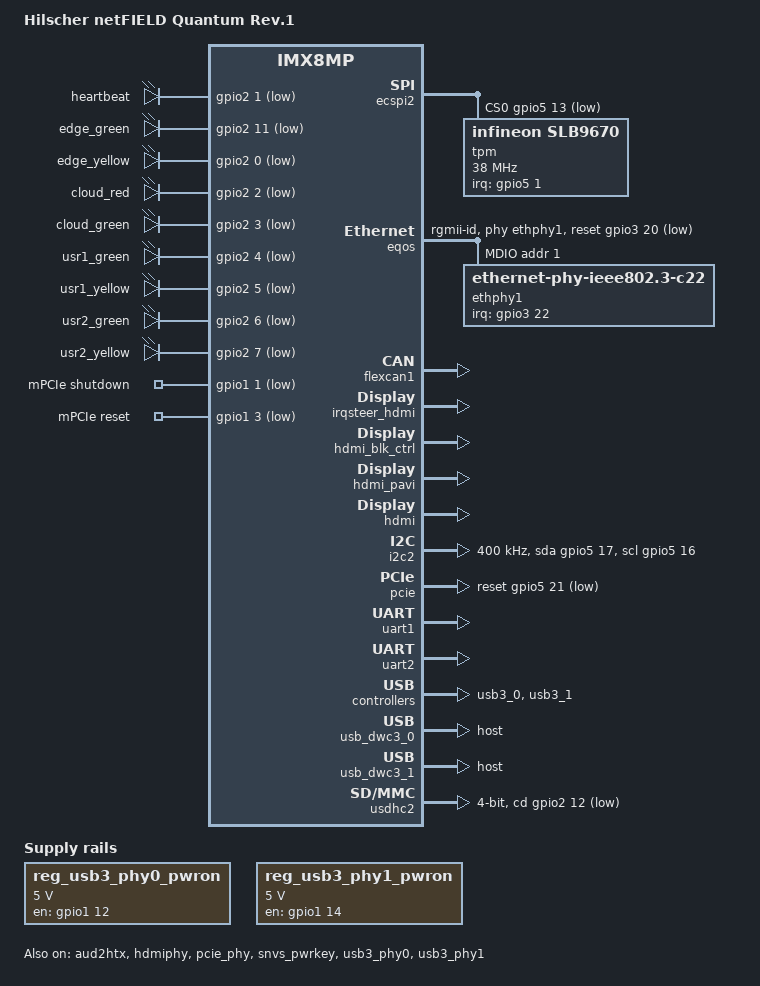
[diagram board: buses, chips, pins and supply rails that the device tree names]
// SPDX-License-Identifier: GPL-2.0
/*
 * Copyright (C) 2024 Hilscher Gesellschaft fuer Systemautomation mbH
 * Author: Michael Trensch <mtrensch@hilscher.com>
 */

/dts-v1/;

#include <dt-bindings/leds/leds-pca9532.h>
#include <dt-bindings/pwm/pwm.h>
#include "imx8mp-phycore-som.dtsi"

/ {
	model = "Hilscher netFIELD Quantum Rev.1";
	compatible = "hilscher,netfield-quantum",
	             "phytec,imx8mp-phycore-som", "fsl,imx8mp";

	chosen {
		stdout-path = &uart1;
	};

	aliases {
		mmc0 = &usdhc2; /* SD-Card */
		mmc1 = &usdhc3; /* eMMC */
		/delete-property/ mmc2;

		#ethernet0 = &eqos; /* with TSN */
		#ethernet1 = &fec;  /* without TSN  */
	};

	/* USB 3.0 */
	reg_usb3_phy0_pwron: regulator-usb3-phy0-pwron {
		compatible = "regulator-fixed";
		pinctrl-names = "default";
		pinctrl-0 = <&pinctrl_reg_usb3_phy0_pwron>;
		regulator-name = "usb3_phy0_pwron";
		regulator-min-microvolt = <5000000>;
		regulator-max-microvolt = <5000000>;
		gpio = <&gpio1 12 GPIO_ACTIVE_HIGH>;
		enable-active-high;
	};

	/* USB 2.0 */
	reg_usb3_phy1_pwron: regulator-usb3-phy1-pwron {
		compatible = "regulator-fixed";
		pinctrl-names = "default";
		pinctrl-0 = <&pinctrl_reg_usb3_phy1_pwron>;
		regulator-name = "usb3_phy1_pwron";
		regulator-min-microvolt = <5000000>;
		regulator-max-microvolt = <5000000>;
		gpio = <&gpio1 14 GPIO_ACTIVE_HIGH>;
		enable-active-high;
	};

	leds {
		compatible = "gpio-leds";
		pinctrl-names = "default";
		pinctrl-0 = <&pinctrl_gpio_leds>;

		act {
			label = "heartbeat";
			gpios = <&gpio2 1 GPIO_ACTIVE_LOW>;
			default-state = "off";
			linux,default-trigger = "heartbeat";
		};

		edge_green {
			label = "edge_green";
			gpios = <&gpio2 11 GPIO_ACTIVE_LOW>;
			default-state = "off";
		};

		edge_yellow {
			label = "edge_yellow";
			gpios = <&gpio2 0 GPIO_ACTIVE_LOW>;
			default-state = "off";
		};

		cloud_red {
			label = "cloud_red";
			gpios = <&gpio2 2 GPIO_ACTIVE_LOW>;
			default-state = "off";
		};

		cloud_green {
			label = "cloud_green";
			gpios = <&gpio2 3 GPIO_ACTIVE_LOW>;
			default-state = "off";
		};

		usr1_green {
			label = "usr1_green";
			gpios = <&gpio2 4 GPIO_ACTIVE_LOW>;
			default-state = "off";
		};

		usr1_yellow {
			label = "usr1_yellow";
			gpios = <&gpio2 5 GPIO_ACTIVE_LOW>;
			default-state = "off";
		};

		usr2_green {
			label = "usr2_green";
			gpios = <&gpio2 6 GPIO_ACTIVE_LOW>;
			default-state = "off";
		};

		usr2_yellow {
			label = "usr2_yellow";
			gpios = <&gpio2 7 GPIO_ACTIVE_LOW>;
			default-state = "off";
		};
	};

	mpcie_wwan_enable {
		status = "okay";
		compatible = "rfkill-gpio";
		shutdown-gpio = <&gpio1 1 GPIO_ACTIVE_LOW>;
		reset-gpio = <&gpio1 3 GPIO_ACTIVE_LOW>;
		label = "mPCIe";
		radio-type = "wwan";
	};

	sound-hdmi {
		compatible = "fsl,imx-audio-hdmi";
		model = "audio-hdmi";
		audio-cpu = <&aud2htx>;
		hdmi-out;
		constraint-rate = <44100>, <88200>, <176400>, <32000>, <48000>, <96000>, <192000>;
	};
};

&gpio1 {
	status = "okay";
	pinctrl-names = "default";
	pinctrl-0 = <&pinctrl_gpio1_inputs &pinctrl_gpio1_outputs>;
	gpio-line-names =
		"N/C", "mPCIe_WWAN", "N/C", "mPCIe_nRST", "N/C", "N/C", "N/C", "ETH0_SYNCCLK",
		"N/C", "N/C", "UART2_RS485/nRS232", "M.2_BOOT", "USB3_PHY0_PWRON", "USB3_PHY0_nFAULT", "USB3_PHY1_PWRON", "M.2_nWAKE",
		"N/C", "N/C", "N/C", "N/C", "N/C", "N/C", "N/C", "N/C",
		"N/C", "N/C", "N/C", "N/C", "N/C", "N/C", "N/C", "N/C";
};

&gpio2 {
	status = "okay";
	gpio-line-names =
		"LED3_EDG_Y", "LED1_ACT", "LED4_CLD_R", "LED4_CLD_G", "LED5_USR1_G", "LED5_USR1_Y", "LED6_USR2_G", "LED6_USR2_Y",
		"M.2_SYNC0", "M.2_SYNC1", "N/C", "LED3_EDG_G", "SD-Card_CD", "N/C", "N/C", "N/C",
		"N/C", "N/C", "N/C", "N/C", "N/C", "N/C", "N/C", "N/C",
		"N/C", "N/C", "N/C", "N/C", "N/C", "N/C", "N/C", "N/C";
};

&gpio3 {
	status = "okay";
	gpio-line-names =
		"N/C", "N/C", "N/C", "N/C", "N/C", "N/C", "N/C", "N/C",
		"N/C", "N/C", "N/C", "N/C", "N/C", "N/C", "N/C", "N/C",
		"N/C", "N/C", "N/C", "N/C", "ETH0_PHY_nRST", "N/C", "ETH0_PHY_nINT", "N/C",
		"N/C", "N/C", "N/C", "N/C", "N/C", "N/C", "N/C", "N/C";
};

&gpio4 {
	status = "okay";
	pinctrl-names = "default";
	pinctrl-0 = <&pinctrl_gpio4_outputs>;
	gpio-line-names =
		"N/C", "N/C", "N/C", "N/C", "N/C", "N/C", "N/C", "N/C",
		"N/C", "N/C", "N/C", "N/C", "N/C", "N/C", "N/C", "N/C",
		"N/C", "N/C", "PMIC", "N/C", "N/C", "DOUT4_EN", "N/C", "N/C",
		"DOUT2_EN", "N/C", "DOUT3_EN", "DOUT1_EN", "N/C", "nDOUT3_ST", "nDOUT4_ST", "N/C";
};

&gpio5 {
	status = "okay";
	pinctrl-names = "default";
	pinctrl-0 = <&pinctrl_gpio5_inputs &pinctrl_gpio5_outputs>;
	gpio-line-names =
		"N/C", "TPM_nINT", "N/C", "nDOUT2_ST", "nDOUT1_ST", "N/C", "DIP_IN4", "DIP_IN2",
		"DIP_IN3", "DIP_IN1", "N/C", "N/C", "N/C", "SPI2_CS0_TPM", "I2C1_SCL", "I2C1_SDA",
		"I2C2_SCL", "I2C2_SDA", "N/C", "N/C", "M.2_nCLKREQ", "M.2_nRESET", "N/C", "N/C",
		"N/C", "N/C", "DIN1", "DIN2", "DIN3", "DIN4", "N/C", "N/C";
};

&aud2htx {
	status = "okay";
};

/* TPM */
&ecspi2 {
	#address-cells = <1>;
	#size-cells = <0>;
	cs-gpios = <&gpio5 13 GPIO_ACTIVE_LOW>;
	num-cs = <1>;
	pinctrl-names = "default";
	pinctrl-0 = <&pinctrl_ecspi2>;
	status = "okay";

	tpm: tpm_tis@0 {
		compatible = "infineon,slb9670", "tcg,tpm_tis-spi";
		reg = <0>;
		spi-max-frequency = <38000000>;
		status = "okay";

		interrupt-parent = <&gpio5>;
		interrupts = <1 IRQ_TYPE_EDGE_FALLING>;
	};
};

/* Ethernet with TSN */
&eqos {
	pinctrl-names = "default";
	pinctrl-0 = <&pinctrl_eqos>;
	phy-mode = "rgmii-id";
	phy-handle = <&ethphy1>;
	status = "okay";

	snps,reset-gpio = <&gpio3 20 GPIO_ACTIVE_LOW>;
	snps,reset-delays-us = <10 20 200000>;

	mdio {
		compatible = "snps,dwmac-mdio";
		#address-cells = <1>;
		#size-cells = <0>;

		ethphy1: ethernet-phy@1 {
			compatible = "ethernet-phy-ieee802.3-c22";
			reg = <0x1>;
			ti,rx-internal-delay = <DP83867_RGMIIDCTL_1_50_NS>;
			ti,tx-internal-delay = <DP83867_RGMIIDCTL_1_50_NS>;
			ti,fifo-depth = <DP83867_PHYCR_FIFO_DEPTH_4_B_NIB>;
			ti,clk-output-sel = <DP83867_CLK_O_SEL_OFF>;
			enet-phy-lane-no-swap;

			interrupt-parent = <&gpio3>;
			interrupts = <22 IRQ_TYPE_EDGE_FALLING>;
		};
	};
};

/* CAN FD1 */
&flexcan1 {
	pinctrl-names = "default";
	pinctrl-0 = <&pinctrl_flexcan1>;
	status = "okay";
};

/* HDMI */
&irqsteer_hdmi {
	status = "okay";
};

&hdmi_blk_ctrl {
	status = "okay";
};

&hdmi_pavi {
	status = "okay";
};

&hdmi {
	status = "okay";
};

&hdmiphy {
	status = "okay";
};

/* Connected to PCIe */
csi2_i2c: &i2c2 {
	clock-frequency = <400000>;
	pinctrl-names = "default", "gpio";
	pinctrl-0 = <&pinctrl_i2c2>;
	pinctrl-1 = <&pinctrl_i2c2_gpio>;
	sda-gpios = <&gpio5 17 (GPIO_ACTIVE_HIGH | GPIO_OPEN_DRAIN)>;
	scl-gpios = <&gpio5 16 (GPIO_ACTIVE_HIGH | GPIO_OPEN_DRAIN)>;
	status = "okay";
};

/* M.2 Key-B (PCIe x1, USB 2.0) */
&pcie{
	pinctrl-names = "default";
	pinctrl-0 = <&pinctrl_pcie_m2>, <&pinctrl_pcie_m2_gpio>;
	reset-gpio = <&gpio5 21 GPIO_ACTIVE_LOW>;
	disable-gpio = <&gpio1 15 GPIO_ACTIVE_LOW>;
	clkreq-gpio = <&gpio5 20 GPIO_ACTIVE_LOW>;

	ext_osc = <0>;
	clocks = <&clk IMX8MP_CLK_HSIO_ROOT>, <&clk IMX8MP_CLK_PCIE_AUX>, <&clk IMX8MP_CLK_HSIO_AXI>, <&clk IMX8MP_CLK_PCIE_ROOT>;
	clock-names = "pcie", "pcie_aux", "pcie_phy", "pcie_bus";
	assigned-clocks = <&clk IMX8MP_CLK_HSIO_AXI>, <&clk IMX8MP_CLK_PCIE_AUX>;
	assigned-clock-rates = <500000000>, <10000000>;
	assigned-clock-parents = <&clk IMX8MP_SYS_PLL2_500M>, <&clk IMX8MP_SYS_PLL2_50M>;
	status = "okay";
};

&pcie_phy{
	ext_osc = <0>;
	status = "okay";
};

&snvs_pwrkey {
	status = "okay";
};

/* RTC */
&rv3028 {
	trickle-resistor-ohms = <3000>;
};

/* UART - console */
&uart1 {
	pinctrl-names = "default";
	pinctrl-0 = <&pinctrl_uart1>;
	status = "okay";
};

/* UART - RS232/RS485 */
&uart2 {
	pinctrl-names = "default";
	pinctrl-0 = <&pinctrl_uart2>;
	assigned-clocks = <&clk IMX8MP_CLK_UART2>;
	assigned-clock-parents = <&clk IMX8MP_SYS_PLL1_80M>;
	uart-has-rtscts;
	status = "okay";
};

/* USB 3.0 */
&usb3_phy0 {
	vbus-supply = <&reg_usb3_phy0_pwron>;
	status = "okay";
};

&usb3_0 {
	status = "okay";
};

&usb_dwc3_0 {
	dr_mode = "host";
	status = "okay";
};

/* USB 2.0 */
&usb3_phy1 {
	vbus-supply = <&reg_usb3_phy1_pwron>;
	status = "okay";
};

&usb3_1 {
	status = "okay";
};

&usb_dwc3_1 {
	dr_mode = "host";
	status = "okay";
};

/* SD-Card */
&usdhc2 {
	assigned-clocks = <&clk IMX8MP_CLK_USDHC2>;
	assigned-clock-rates = <200000000>;
	disable-wp;
	pinctrl-names = "default", "state_100mhz", "state_200mhz";
	pinctrl-0 = <&pinctrl_usdhc2>, <&pinctrl_usdhc2_pins>;
	pinctrl-1 = <&pinctrl_usdhc2_100mhz>, <&pinctrl_usdhc2_pins>;
	pinctrl-2 = <&pinctrl_usdhc2_200mhz>, <&pinctrl_usdhc2_pins>;
	cd-gpios = <&gpio2 12 GPIO_ACTIVE_LOW>;
	//vmmc-supply = <&reg_usdhc2_vmmc>;
	vqmmc-supply = <&ldo5>;
	no-1-8-v;
	bus-width = <4>;
	status = "okay";
};

#define PU             0x140   // Pull-Up enable
#define PD             0x100   // Pull-Down enable
#define OD_OUT         0x020   // Open-Drain Output
#define PP_OUT         0x000   // Push-Pull Output
#define SCHMITT_IN     0x080   // Schmitt Trigger Input
#define CMOS_IN        0x000   // CMOS Input
#define SSR            0x000   // Slow Slew Rate
#define FSR            0x010   // Fast Slew Rate
#define DSEx1          0x000   // Drive Strength Field X1
#define DSEx2          0x004   // Drive Strength Field X2
#define DSEx4          0x002   // Drive Strength Field X4
#define DSEx6          0x006   // Drive Strength Field X6

#define IMX_PAD_SION   0x40000000   // see pinctrl-imx.c

&iomuxc {
	pinctrl-names = "default";
	pinctrl-0 = <&pinctrl_hog>;

	pinctrl_hog: hoggrp {
		fsl,pins = <
			MX8MP_IOMUXC_HDMI_DDC_SCL__HDMIMIX_HDMI_SCL	0x400001c3
			MX8MP_IOMUXC_HDMI_DDC_SDA__HDMIMIX_HDMI_SDA	0x400001c3
			MX8MP_IOMUXC_HDMI_HPD__HDMIMIX_HDMI_HPD		0x40000019
			MX8MP_IOMUXC_HDMI_CEC__HDMIMIX_HDMI_CEC		0x40000019
		>;
	};

	/* --- Regulators --- */

	/* USB 3.0 */
	pinctrl_reg_usb3_phy0_pwron: reg-usb3-phy0-pwron {
		fsl,pins = <
			MX8MP_IOMUXC_GPIO1_IO12__GPIO1_IO12		(PP_OUT|SSR|DSEx1)
		>;
	};

	/* USB 2.0 */
	pinctrl_reg_usb3_phy1_pwron: reg-usb3-phy1-pwron {
		fsl,pins = <
			MX8MP_IOMUXC_GPIO1_IO14__GPIO1_IO14		(PP_OUT|SSR|DSEx1)
		>;
	};

	//pinctrl_reg_usdhc2_vmmc: reg-usdhc2-vmmc {
	//	fsl,pins = <
	//		MX8MP_IOMUXC_SD2_RESET_B__GPIO2_IO19	(PP_OUT|SSR|DSEx1)
	//	>;
	//};

	/* --- UART interfaces --- */

	/*  Test Connector */
	pinctrl_uart1: uart1grp {
		fsl,pins = <
			MX8MP_IOMUXC_UART1_RXD__UART1_DCE_RX	(PU|SCHMITT_IN)
			MX8MP_IOMUXC_UART1_TXD__UART1_DCE_TX	(PU|OD_OUT|SSR|DSEx1)
		>;
	};

	/* RS232/RS485 16pol. Phoenix */
	pinctrl_uart2: uart2grp {
		fsl,pins = <
			MX8MP_IOMUXC_UART2_RXD__UART2_DCE_RX	(PU|SCHMITT_IN)
			MX8MP_IOMUXC_UART2_TXD__UART2_DCE_TX	(PU|OD_OUT|SSR|DSEx1)
		>;
	};

	/* --- I2C interfaces --- */

	pinctrl_i2c2: i2c2grp {
		fsl,pins = <
			MX8MP_IOMUXC_I2C2_SCL__I2C2_SCL		(IMX_PAD_SION|PU|SCHMITT_IN|OD_OUT|SSR|DSEx1)
			MX8MP_IOMUXC_I2C2_SDA__I2C2_SDA		(IMX_PAD_SION|PU|SCHMITT_IN|OD_OUT|SSR|DSEx1)
		>;
	};

	pinctrl_i2c2_gpio: i2c2gpiogrp {
		fsl,pins = <
			MX8MP_IOMUXC_I2C2_SCL__GPIO5_IO16	(PU|SCHMITT_IN|OD_OUT|SSR|DSEx1)
			MX8MP_IOMUXC_I2C2_SDA__GPIO5_IO17	(PU|SCHMITT_IN|OD_OUT|SSR|DSEx1)
		>;
	};

	/* --- SPI interface --- */

	pinctrl_ecspi2: ecspi2grp {
		fsl,pins = <
			MX8MP_IOMUXC_ECSPI2_MISO__ECSPI2_MISO	(PU|SCHMITT_IN)
			MX8MP_IOMUXC_ECSPI2_MOSI__ECSPI2_MOSI	(PP_OUT|SSR|DSEx1)
			MX8MP_IOMUXC_ECSPI2_SCLK__ECSPI2_SCLK	(PP_OUT|SSR|DSEx1)
			MX8MP_IOMUXC_ECSPI2_SS0__GPIO5_IO13		(PU|OD_OUT|SSR|DSEx1) // nCS (TPM)
			MX8MP_IOMUXC_SAI3_TXD__GPIO5_IO01		(SCHMITT_IN) // nINT (TPM)
		>;
	};

	/* --- CAN interface --- */

	pinctrl_flexcan1: flexcan1grp {
		fsl,pins = <
			MX8MP_IOMUXC_SAI2_TXC__CAN1_RX		(PU|SCHMITT_IN)
			MX8MP_IOMUXC_SAI2_RXC__CAN1_TX		(PP_OUT|SSR|DSEx1)
		>;
	};

	/* --- USDHC interfaces --- */

	pinctrl_usdhc2_pins: usdhc2-gpiogrp {
		fsl,pins = <
			MX8MP_IOMUXC_SD2_CD_B__GPIO2_IO12		(PU|SCHMITT_IN) // SD-Card Card-Detect
		>;
	};

	pinctrl_usdhc2: usdhc2grp {
		fsl,pins = <
			MX8MP_IOMUXC_SD2_CLK__USDHC2_CLK		(PD|SCHMITT_IN|PP_OUT|FSR|DSEx1) // 0x190
			MX8MP_IOMUXC_SD2_CMD__USDHC2_CMD		(PU|SCHMITT_IN|PP_OUT|SSR|DSEx1) // 0x1d0
			MX8MP_IOMUXC_SD2_DATA0__USDHC2_DATA0	(PU|SCHMITT_IN|PP_OUT|SSR|DSEx1) // 0x1d0
			MX8MP_IOMUXC_SD2_DATA1__USDHC2_DATA1	(PU|SCHMITT_IN|PP_OUT|SSR|DSEx1) // 0x1d0
			MX8MP_IOMUXC_SD2_DATA2__USDHC2_DATA2	(PU|SCHMITT_IN|PP_OUT|SSR|DSEx1) // 0x1d0
			MX8MP_IOMUXC_SD2_DATA3__USDHC2_DATA3	(PU|SCHMITT_IN|PP_OUT|SSR|DSEx1) // 0x1d0
		>;
	};

	pinctrl_usdhc2_100mhz: usdhc2-100mhzgrp {
		fsl,pins = <
			MX8MP_IOMUXC_SD2_CLK__USDHC2_CLK		(PD|SCHMITT_IN|PP_OUT|FSR|DSEx2) // 0x194
			MX8MP_IOMUXC_SD2_CMD__USDHC2_CMD		(PU|SCHMITT_IN|PP_OUT|SSR|DSEx2) // 0x1d4
			MX8MP_IOMUXC_SD2_DATA0__USDHC2_DATA0	(PU|SCHMITT_IN|PP_OUT|SSR|DSEx2) // 0x1d4
			MX8MP_IOMUXC_SD2_DATA1__USDHC2_DATA1	(PU|SCHMITT_IN|PP_OUT|SSR|DSEx2) // 0x1d4
			MX8MP_IOMUXC_SD2_DATA2__USDHC2_DATA2	(PU|SCHMITT_IN|PP_OUT|SSR|DSEx2) // 0x1d4
			MX8MP_IOMUXC_SD2_DATA3__USDHC2_DATA3	(PU|SCHMITT_IN|PP_OUT|SSR|DSEx2) // 0x1d4
		>;
	};

	pinctrl_usdhc2_200mhz: usdhc2-200mhzgrp {
		fsl,pins = <
			MX8MP_IOMUXC_SD2_CLK__USDHC2_CLK		(PD|SCHMITT_IN|PP_OUT|SSR|DSEx6) // 0x196
			MX8MP_IOMUXC_SD2_CMD__USDHC2_CMD		(PU|SCHMITT_IN|PP_OUT|SSR|DSEx6) // 0x1d6
			MX8MP_IOMUXC_SD2_DATA0__USDHC2_DATA0	(PU|SCHMITT_IN|PP_OUT|SSR|DSEx6) // 0x1d6
			MX8MP_IOMUXC_SD2_DATA1__USDHC2_DATA1	(PU|SCHMITT_IN|PP_OUT|SSR|DSEx6) // 0x1d6
			MX8MP_IOMUXC_SD2_DATA2__USDHC2_DATA2	(PU|SCHMITT_IN|PP_OUT|SSR|DSEx6) // 0x1d6
			MX8MP_IOMUXC_SD2_DATA3__USDHC2_DATA3	(PU|SCHMITT_IN|PP_OUT|SSR|DSEx6) // 0x1d6
		>;
	};

	/* --- GPIOs --- */

	pinctrl_gpio1_inputs: gpio1_inputs {
		fsl,pins = <
			MX8MP_IOMUXC_GPIO1_IO13__GPIO1_IO13			(PU|SCHMITT_IN) // USB3_PHY0_FAULT
		>;
	};

	pinctrl_gpio1_outputs: gpio1_outputs {
		fsl,pins = <
			MX8MP_IOMUXC_GPIO1_IO01__GPIO1_IO01			(PU|OD_OUT|SSR|DSEx1) // mPCIe_WWAN
			MX8MP_IOMUXC_GPIO1_IO03__GPIO1_IO03			(PU|OD_OUT|SSR|DSEx1) // mPCIe_RESET
			MX8MP_IOMUXC_GPIO1_IO10__GPIO1_IO10			(PU|OD_OUT|SSR|DSEx1) // UART_MUX_S 0=RS232, 1=RS485
		>;
	};

	pinctrl_gpio4_outputs: gpio4_outputs {
		fsl,pins = <
			MX8MP_IOMUXC_SAI2_RXFS__GPIO4_IO21			(PP_OUT|SSR|DSEx1) /* DOUT4_EN */
			MX8MP_IOMUXC_SAI2_TXFS__GPIO4_IO24			(PP_OUT|SSR|DSEx1) /* DOUT2_EN */
			MX8MP_IOMUXC_SAI2_TXD0__GPIO4_IO26			(PP_OUT|SSR|DSEx1) /* DOUT3_EN */
			MX8MP_IOMUXC_SAI2_MCLK__GPIO4_IO27			(PP_OUT|SSR|DSEx1) /* DOUT1_EN */
			MX8MP_IOMUXC_SAI3_RXC__GPIO4_IO29			(OD_OUT|SSR|DSEx1) /* nDOUT3_ST */
			MX8MP_IOMUXC_SAI3_RXD__GPIO4_IO30			(OD_OUT|SSR|DSEx1) /* nDOUT4_ST */
		>;
	};

	pinctrl_gpio5_inputs: gpio5_inputs {
		fsl,pins = <
			MX8MP_IOMUXC_ECSPI1_SS0__GPIO5_IO09			(PD|SCHMITT_IN) /* DIP_IN1 */
			MX8MP_IOMUXC_ECSPI1_MOSI__GPIO5_IO07		(PD|SCHMITT_IN) /* DIP_IN2 */
			MX8MP_IOMUXC_ECSPI1_MISO__GPIO5_IO08		(PD|SCHMITT_IN) /* DIP_IN3 */
			MX8MP_IOMUXC_ECSPI1_SCLK__GPIO5_IO06		(PD|SCHMITT_IN) /* DIP_IN4 */
		>;
	};

	pinctrl_gpio5_outputs: gpio5_outputs {
		fsl,pins = <
			MX8MP_IOMUXC_SPDIF_TX__GPIO5_IO03			(OD_OUT|SSR|DSEx1)  /* nDOUT2_ST */
			MX8MP_IOMUXC_SPDIF_RX__GPIO5_IO04			(OD_OUT|SSR|DSEx1)  /* nDOUT1_ST */
			MX8MP_IOMUXC_UART3_RXD__GPIO5_IO26			(PU|SCHMITT_IN) /* DIN1 */
			MX8MP_IOMUXC_UART3_TXD__GPIO5_IO27			(PU|SCHMITT_IN) /* DIN2 */
			MX8MP_IOMUXC_UART4_RXD__GPIO5_IO28			(PU|SCHMITT_IN) /* DIN3 */
			MX8MP_IOMUXC_UART4_TXD__GPIO5_IO29			(PU|SCHMITT_IN) /* DIN4 */
		>;
	};

	pinctrl_gpio_leds: gpio_leds {
		fsl,pins = <
			MX8MP_IOMUXC_SD1_CMD__GPIO2_IO01			(OD_OUT|SSR|DSEx1) /* LED1_ACT */
			MX8MP_IOMUXC_SD1_STROBE__GPIO2_IO11			(OD_OUT|SSR|DSEx1) /* LED3_EDG_G */
			MX8MP_IOMUXC_SD1_CLK__GPIO2_IO00			(OD_OUT|SSR|DSEx1) /* LED3_EDG_Y */
			MX8MP_IOMUXC_SD1_DATA0__GPIO2_IO02			(OD_OUT|SSR|DSEx1) /* LED4_CLD_R */
			MX8MP_IOMUXC_SD1_DATA1__GPIO2_IO03			(OD_OUT|SSR|DSEx1) /* LED4_CLD_G */
			MX8MP_IOMUXC_SD1_DATA2__GPIO2_IO04			(OD_OUT|SSR|DSEx1) /* LED5_USR1_G */
			MX8MP_IOMUXC_SD1_DATA3__GPIO2_IO05			(OD_OUT|SSR|DSEx1) /* LED5_USR1_Y */
			MX8MP_IOMUXC_SD1_DATA4__GPIO2_IO06			(OD_OUT|SSR|DSEx1) /* LED6_USR2_G */
			MX8MP_IOMUXC_SD1_DATA5__GPIO2_IO07			(OD_OUT|SSR|DSEx1) /* LED6_USR2_Y */
		>;
	};

	/* --- Ethernet interface --- */

	pinctrl_eqos: eqosgrp {
		fsl,pins = <
			MX8MP_IOMUXC_ENET_MDC__ENET_QOS_MDC							(PP_OUT|SSR|DSEx4) // 0x2
			MX8MP_IOMUXC_ENET_MDIO__ENET_QOS_MDIO						(OD_OUT|SSR|DSEx4) // 0x2 NOTE: Since there is an external pull-up against 1.8 V, we leave the pad pull-up deactivated.
			MX8MP_IOMUXC_ENET_RD0__ENET_QOS_RGMII_RD0					(SCHMITT_IN) // 0x90
			MX8MP_IOMUXC_ENET_RD1__ENET_QOS_RGMII_RD1					(SCHMITT_IN) // 0x90
			MX8MP_IOMUXC_ENET_RD2__ENET_QOS_RGMII_RD2					(SCHMITT_IN) // 0x90
			MX8MP_IOMUXC_ENET_RD3__ENET_QOS_RGMII_RD3					(SCHMITT_IN) // 0x90
			MX8MP_IOMUXC_ENET_RXC__CCM_ENET_QOS_CLOCK_GENERATE_RX_CLK	(SCHMITT_IN) // 0x90
			MX8MP_IOMUXC_ENET_RX_CTL__ENET_QOS_RGMII_RX_CTL				(SCHMITT_IN) // 0x90
			MX8MP_IOMUXC_ENET_TD0__ENET_QOS_RGMII_TD0					(PP_OUT|FSR|DSEx4) // 0x12
			MX8MP_IOMUXC_ENET_TD1__ENET_QOS_RGMII_TD1					(PP_OUT|FSR|DSEx4) // 0x12
			MX8MP_IOMUXC_ENET_TD2__ENET_QOS_RGMII_TD2					(PP_OUT|FSR|DSEx4) // 0x12
			MX8MP_IOMUXC_ENET_TD3__ENET_QOS_RGMII_TD3					(PP_OUT|FSR|DSEx4) // 0x12
			MX8MP_IOMUXC_ENET_TX_CTL__ENET_QOS_RGMII_TX_CTL				(PP_OUT|FSR|DSEx4) // 0x12
			MX8MP_IOMUXC_ENET_TXC__CCM_ENET_QOS_CLOCK_GENERATE_TX_CLK	(PP_OUT|FSR|DSEx4) // 0x12

			MX8MP_IOMUXC_SAI5_RXC__GPIO3_IO20							(PP_OUT|SSR|DSEx1) // 0x10 // PHY_nRESET
			MX8MP_IOMUXC_SAI5_RXD1__GPIO3_IO22							(SCHMITT_IN)       // PHY_nINT
			MX8MP_IOMUXC_GPIO1_IO09__ENET_QOS_1588_EVENT0_OUT			(PP_OUT|SSR|DSEx1) // PTP_STAMP_OUT_3V3
			MX8MP_IOMUXC_GPIO1_IO08__ENET_QOS_1588_EVENT0_IN			(SCHMITT_IN)       // PTP_STAMP_IN_3V3
			MX8MP_IOMUXC_GPIO1_IO07__GPIO1_IO07							(SCHMITT_IN)       // SYNCCLK
		>;
	};

	/* --- PCIe (M.2 Key-B Connector) --- */

	pinctrl_pcie_m2: pcie_m2_grp {
		fsl,pins = <
			MX8MP_IOMUXC_I2C4_SDA__GPIO5_IO21	(PP_OUT|SSR|DSEx1)    // nRESET
			MX8MP_IOMUXC_GPIO1_IO15__GPIO1_IO15	(PU|OD_OUT|SSR|DSEx1) // nWAKE
			MX8MP_IOMUXC_I2C4_SCL__GPIO5_IO20	(PU|OD_OUT|SSR|DSEx1) // nCLKREQ
		>;
	};

	pinctrl_pcie_m2_gpio: pcie_m2_gpio_grp {
		fsl,pins = <
			MX8MP_IOMUXC_GPIO1_IO11__GPIO1_IO11	(PU|OD_OUT|SSR|DSEx1) // BOOT
			MX8MP_IOMUXC_SD1_DATA6__GPIO2_IO08	(PU|OD_OUT|SSR|DSEx1) // SYNC0
			MX8MP_IOMUXC_SD1_DATA7__GPIO2_IO09	(PU|OD_OUT|SSR|DSEx1) // SYNC1
		>;
	};
};
